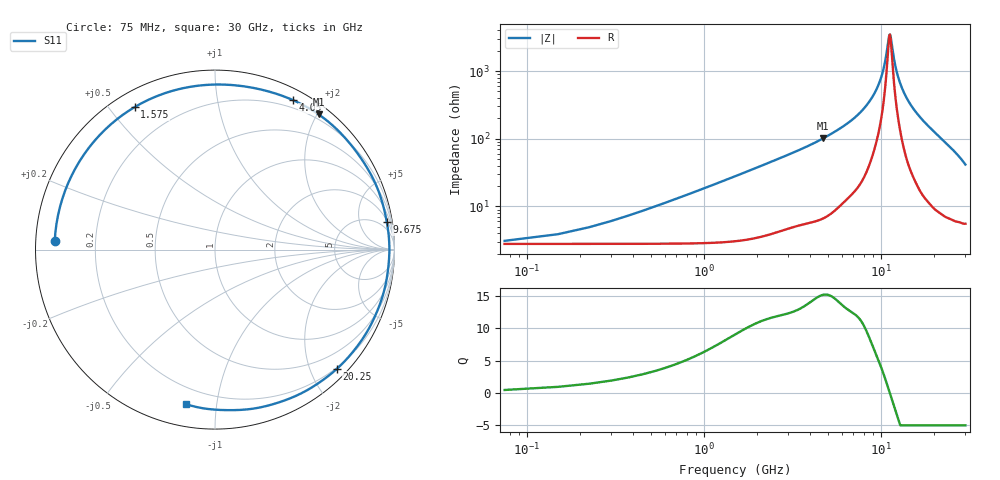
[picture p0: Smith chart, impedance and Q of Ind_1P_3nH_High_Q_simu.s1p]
#  Hz  S  RI  R  50
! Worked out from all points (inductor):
!   400 points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, 75 MHz to 30 GHz, reference 50 ohm
!   read as one part to ground: L = 2.87 nH near 525 MHz
!   highest Q = 15.2 at 4.725 GHz (marker M1), where L = 3.41 nH
!   self-resonance near 11.23 GHz
!   S11 on the Smith chart (normalised r, x): 75 MHz: 0.06, +0.03; 1.575 GHz: 0.06, +0.58; 4.05 GHz: 0.12, +1.65; 9.675 GHz: 2, +12; 20.25 GHz: 0.18, -2.44; 30 GHz: 0.11, -0.82
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7.5e7  -0.893 0.0485
3.75e8  -0.8633 0.2389
7.5e8  -0.7753 0.4572
1.2e9  -0.6117 0.6691
1.575e9  -0.4478 0.7939
2.025e9  -0.2442 0.8825
2.475e9  -0.0539 0.917
3.15e9  0.1871 0.9057
3.825e9  0.3797 0.855
4.05e9  0.4353 0.8325
4.725e9  0.5782 0.7527
5.325e9  0.6761 0.6727
5.925e9  0.7507 0.5923
6.75e9  0.8277 0.4875
7.575e9  0.8848 0.3869
8.55e9  0.9291 0.2727
9.675e9  0.9575 0.1527
1.1325e10  0.9715 -0.00902
1.3275e10  0.9535 -0.1795
1.5075e10  0.9117 -0.3229
1.6875e10  0.8499 -0.4531
1.8825e10  0.7597 -0.5801
2.025e10  0.6797 -0.6638
2.2575e10  0.5228 -0.7779
2.445e10  0.3723 -0.8458
2.6325e10  0.2039 -0.8873
2.8425e10  -0.0003 -0.8916
3e10  -0.1622 -0.861
